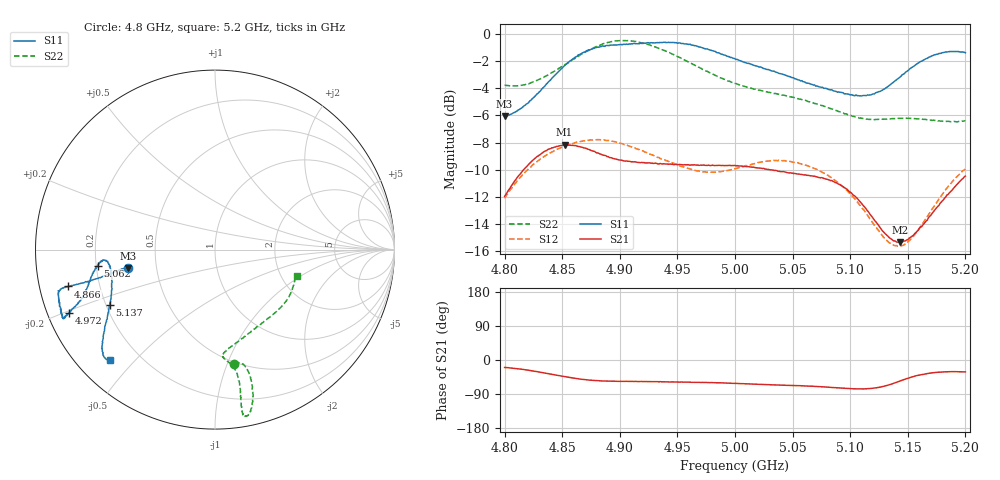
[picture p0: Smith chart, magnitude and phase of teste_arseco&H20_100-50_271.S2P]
! Network Analyzer HP8722D
! Hewlett-Packard
! Data name: Linha & Wilkinson
! Saver's name: Rodrigo Anjos
! Comments: Teste da utilização de aquisição
! continua pelo VNA HP8722D
! Time and date: 6/5/2025 14:49
!  Frequency  S11  S21  S12  S22
# HZ  S  MA R 50
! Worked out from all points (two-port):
!   401 points, 4.8 GHz to 5.2 GHz, reference 50 ohm
!   highest |S21| = -8.16 dB at 4.852 GHz (marker M1); lowest = -15.3 dB at 5.143 GHz (marker M2)
!   |S21| within 3 dB of the highest: 4.806 GHz to 5.092 GHz (286.3 MHz wide, 5.79 % of centre); 5.191766 GHz to end of sweep
!   lowest |S11| = -6.1 dB at 4.8 GHz (marker M3), VSWR 2.97, Z = 17 - j4.58 ohm
!   |S11| at or under -10 dB: nowhere
!   |S22| runs from -6.5 to -0.5 dB; largest |S21 - S12| = 0.62
!   S11 on the Smith chart (normalised r, x): 4.8 GHz: 0.34, -0.09; 4.866 GHz: 0.09, -0.12; 4.972 GHz: 0.06, -0.21; 5.062 GHz: 0.21, -0.07; 5.137 GHz: 0.22, -0.23; 5.2 GHz: 0.09, -0.43
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4.8e9  0.4967 -168.2  0.2526 -19.7  0.2487 -140.9  0.6469 -80.3
4.823e9  0.5707 -167.6  0.3384 -28.1  0.3246 -143.7  0.6611 -75.9
4.852e9  0.7637 -165.9  0.3909 -43.8  0.3862 -149.5  0.7682 -74.7
4.866e9  0.8436 -165.9  0.3837 -50.4  0.402 -151.9  0.8383 -75.3
4.867e9  0.8486 -165.9  0.3832 -51.0  0.4028 -152.0  0.8431 -75.4
4.883e9  0.8971 -165.1  0.3616 -55.1  0.4082 -154.8  0.9085 -77.1
4.9e9  0.9124 -162.7  0.3436 -56.3  0.3965 -156.5  0.9437 -79.2
4.934e9  0.9273 -156.3  0.3324 -57.6  0.3507 -155.6  0.8832 -80.5
4.972e9  0.8878 -156.6  0.3293 -59.0  0.3112 -146.2  0.7394 -79.8
5e9  0.8092 -159.1  0.3282 -61.8  0.3193 -137.2  0.6573 -81.3
5.036e9  0.722 -165.6  0.3141 -65.9  0.3423 -134.2  0.6024 -85.7
5.062e9  0.6592 -172.1  0.3019 -68.6  0.3286 -136.4  0.5677 -83.8
5.067e9  0.6511 -173.0  0.3004 -69.0  0.3227 -136.8  0.5581 -82.6
5.083e9  0.6223 -174.6  0.2882 -72.2  0.2973 -138.3  0.5312 -76.8
5.101e9  0.5974 -172.1  0.2601 -75.8  0.2555 -138.8  0.5006 -66.5
5.116e9  0.5952 -165.5  0.2212 -75.9  0.2123 -135.5  0.4846 -55.8
5.134e9  0.6462 -154.2  0.1781 -65.2  0.1705 -120.7  0.4871 -43.4
5.137e9  0.6609 -152.4  0.1741 -62.4  0.1676 -116.8  0.4878 -41.5
5.143e9  0.692 -149.4  0.1715 -55.8  0.1658 -109.0  0.489 -38.0
5.154e9  0.7542 -144.5  0.1808 -44.4  0.179 -95.0  0.4881 -32.3
5.172e9  0.8327 -139.0  0.2213 -33.7  0.2296 -81.1  0.4814 -24.6
5.2e9  0.852 -133.6  0.2999 -31.4  0.3188 -76.9  0.4778 -17.6
